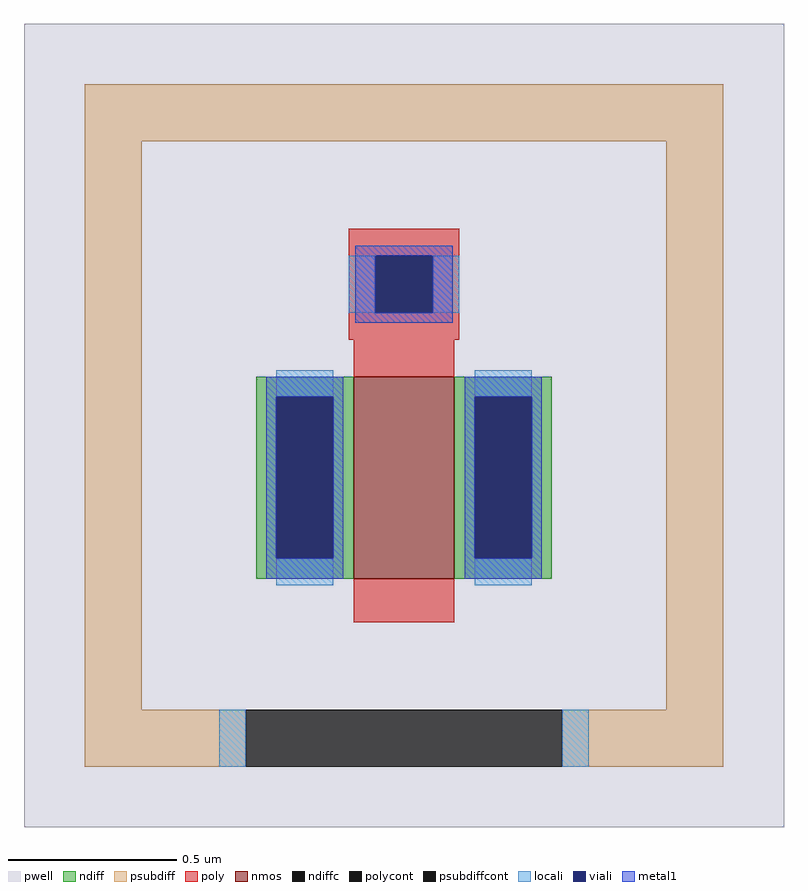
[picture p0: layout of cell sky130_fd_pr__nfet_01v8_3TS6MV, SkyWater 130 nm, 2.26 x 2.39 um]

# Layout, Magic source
magic
tech sky130A
magscale 1 2
<< pwell >>
rect -226 -239 226 239
<< nmos >>
rect -30 -91 30 29
<< ndiff >>
rect -88 17 -30 29
rect -88 -79 -76 17
rect -42 -79 -30 17
rect -88 -91 -30 -79
rect 30 17 88 29
rect 30 -79 42 17
rect 76 -79 88 17
rect 30 -91 88 -79
<< ndiffc >>
rect -76 -79 -42 17
rect 42 -79 76 17
<< psubdiff >>
rect -190 169 190 203
rect -190 -169 -156 169
rect 156 -169 190 169
rect -190 -203 -94 -169
rect 94 -203 190 -169
<< psubdiffcont >>
rect -94 -203 94 -169
<< poly >>
rect -33 101 33 117
rect -33 67 -17 101
rect 17 67 33 101
rect -33 51 33 67
rect -30 29 30 51
rect -30 -117 30 -91
<< polycont >>
rect -17 67 17 101
<< locali >>
rect -33 67 -17 101
rect 17 67 33 101
rect -76 17 -42 33
rect -76 -95 -42 -79
rect 42 17 76 33
rect 42 -95 76 -79
rect -110 -203 -94 -169
rect 94 -203 110 -169
<< viali >>
rect -17 67 17 101
rect -76 -79 -42 17
rect 42 -79 76 17
<< metal1 >>
rect -29 101 29 107
rect -29 67 -17 101
rect 17 67 29 101
rect -29 61 29 67
rect -82 17 -36 29
rect -82 -79 -76 17
rect -42 -79 -36 17
rect -82 -91 -36 -79
rect 36 17 82 29
rect 36 -79 42 17
rect 76 -79 82 17
rect 36 -91 82 -79
<< properties >>
string FIXED_BBOX -173 -186 173 186
string gencell sky130_fd_pr__nfet_01v8
string library sky130
string parameters w 0.600 l 0.300 m 1 nf 1 diffcov 100 polycov 100 guard 1 glc 0 grc 0 gtc 0 gbc 1 tbcov 100 rlcov 100 topc 1 botc 0 poverlap 0 doverlap 1 lmin 0.15 wmin 0.42 compatible {sky130_fd_pr__nfet_01v8 sky130_fd_pr__nfet_01v8_lvt  sky130_fd_bs_flash__special_sonosfet_star  sky130_fd_pr__nfet_g5v0d10v5 sky130_fd_pr__nfet_05v0_nvt  sky130_fd_pr__nfet_03v3_nvt} full_metal 0 viasrc 100 viadrn 100 viagate 100 viagb 0 viagr 0 viagl 0 viagt 0
<< end >>
